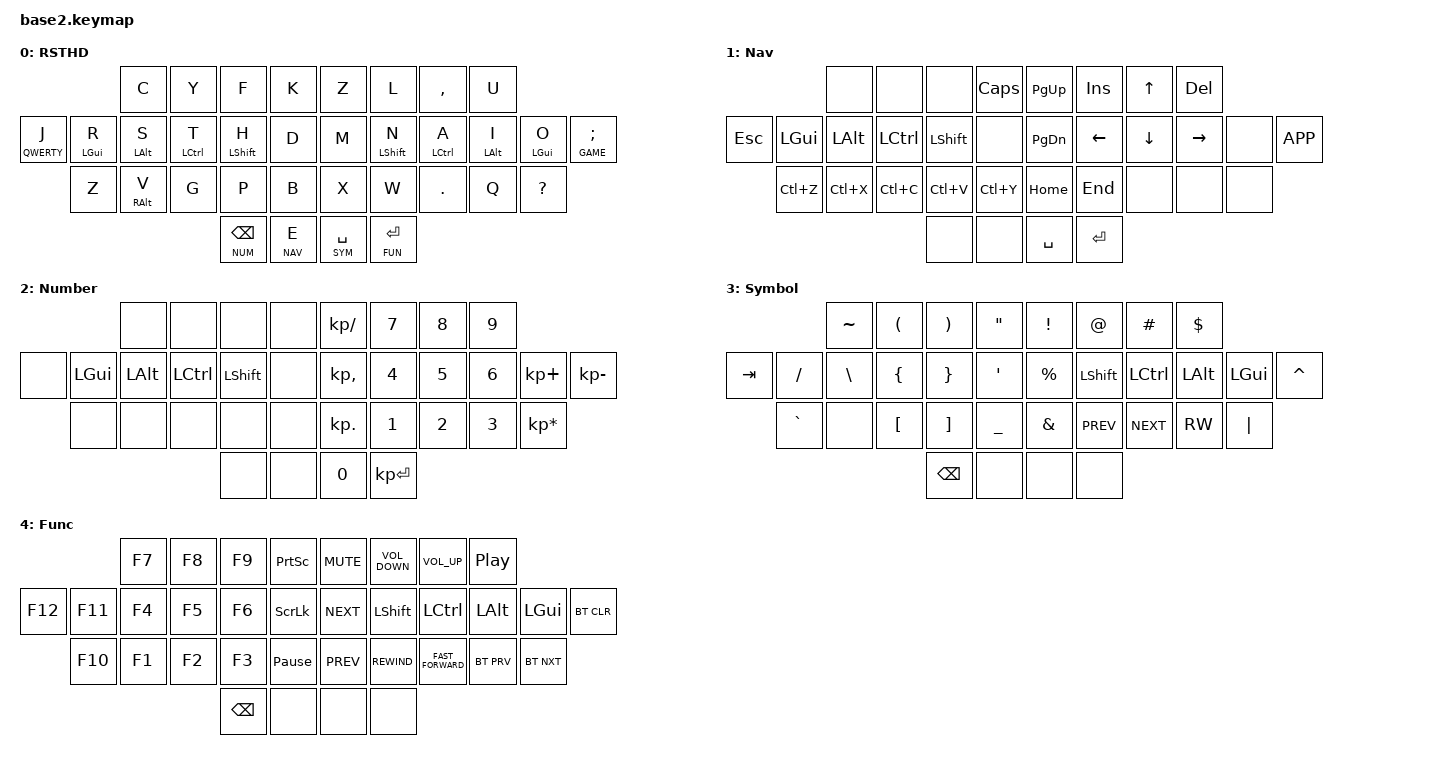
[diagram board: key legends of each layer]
#include <behaviors.dtsi>
#include <dt-bindings/zmk/keys.h>
#include <dt-bindings/zmk/bt.h>
#include <dt-bindings/zmk/outputs.h>

#define U_RDO &kp LC(Y)
#define U_PST &kp LC(V)
#define U_CPY &kp LC(C)
#define U_CUT &kp LC(X)
#define U_UND &kp LC(Z)

#define RSTHD 0
#define NAV 1
#define NUM 2
#define SYM 3
#define FUN 4

/*
*
* Rules:
* 1) layer changes are due to holding thumb keys
* 2) avoid having to hold multiple keys like sym+shift, e.g. (sym+shift+",") should be avoided infavor of (sym+"<")
* 3) outer columns should match what you'd put on pinky top row in a pure 3 row setup
* 4) while holding a left thumb, primary actions should be on right hand & vice versa
* 5) home row mods are only on the base layer
* 6) thumb tap actions should remain consistent on all layers unless being overriden by a primary action
* 7) avoid duplicates - decisions are bad, KC_NO is fine
* 8) arrange open/close and left/right things horizontally, up/down things vertically
*/

/ {
        keymap {
                compatible = "zmk,keymap";
                RSTHD {
                        label = "RSTHD";
                        bindings = <
/*                                       ╔═══════════════════╦═══════════════════╦═══════════════════╦═════════════════╗        ╔═════════════════╦═══════════════════╦═══════════════════╦═══════════════════╗                                       */
                                               &kp C              &kp Y              &kp F              &kp K                       &kp Z              &kp L              &kp COMMA            &kp U
/* ╔═════════════════╦═══════════════════╬═══════════════════╬═══════════════════╬═══════════════════╬═════════════════╣        ╠═════════════════╬═══════════════════╬═══════════════════╬═══════════════════╬═══════════════════╦═════════════════╗ */
     &hto QWERTY J          &hm LGUI R         &hm LALT S         &hm LCTRL T        &hm LSHFT H        &kp D                       &kp M              &hm LSHFT N        &hm LCTRL A          &hm LALT I          &hm LGUI O       &hto GAME SEMI
/* ╚═════════════════╬═══════════════════╬═══════════════════╬═══════════════════╬═══════════════════╬═════════════════╣        ╠═════════════════╬═══════════════════╬═══════════════════╬═══════════════════╬═══════════════════╬═════════════════╝ */
                            &kp Z              &hm RALT V         &kp G              &kp P              &kp B                       &kp X              &kp W              &kp DOT              &kp Q             &kp QUESTION
/*                   ╚═══════════════════╩═══════════════════╩═══════════════════╬═══════════════════╬═════════════════╣        ╠═════════════════╬═══════════════════╬═══════════════════╩═══════════════════╩═══════════════════╝                   */
                                                                                     &lt NUM BSPC       &lt NAV E                 &lt SYM SPC        &lt FUN RET
/*                                                                               ╚═══════════════════╩═════════════════╝        ╚═════════════════╩═══════════════════╝                                                                               */
                             >;
                    };

                     NAV {
                             label = "Nav";
                             bindings = <
/*                                       ╔═══════════════════╦═══════════════════╦═══════════════════╦═════════════════╗        ╔═════════════════╦═══════════════════╦═══════════════════╦═══════════════════╗                                       */
                                               &none              &none              &none              &kp CAPS                    &kp PG_UP          &kp INS            &kp UP             &kp DEL
/* ╔═════════════════╦═══════════════════╬═══════════════════╬═══════════════════╬═══════════════════╬═════════════════╣        ╠═════════════════╬═══════════════════╬═══════════════════╬═══════════════════╬═══════════════════╦═════════════════╗ */
     &kp ESC                &kp LGUI           &kp LALT           &kp LCTRL          &kp LSHFT          &none                       &kp PG_DN          &kp LEFT           &kp DOWN           &kp RIGHT          &none                &kp K_APP
/* ╚═════════════════╬═══════════════════╬═══════════════════╬═══════════════════╬═══════════════════╬═════════════════╣        ╠═════════════════╬═══════════════════╬═══════════════════╬═══════════════════╬═══════════════════╬═════════════════╝ */
                            U_UND              U_CUT              U_CPY              U_PST              U_RDO                       &kp HOME           &kp END            &none              &none              &none
/*                   ╚═══════════════════╩═══════════════════╩═══════════════════╬═══════════════════╬═════════════════╣        ╠═════════════════╬═══════════════════╬═══════════════════╩═══════════════════╩═══════════════════╝                   */
                                                                                     &none              &none                       &kp SPC            &kp RET
/*                                                                               ╚═══════════════════╩═════════════════╝        ╚═════════════════╩═══════════════════╝                                                                               */
                             >;
                     };
                     NUM {
                             label = "Number";
                             bindings = <
/*                                       ╔═══════════════════╦═══════════════════╦═══════════════════╦═════════════════╗        ╔═════════════════╦═══════════════════╦═══════════════════╦═══════════════════╗                                       */
                                               &none              &none              &none              &none                       &kp KP_DIVIDE      &kp NUM_7          &kp NUM_8          &kp NUM_9
/* ╔═════════════════╦═══════════════════╬═══════════════════╬═══════════════════╬═══════════════════╬═════════════════╣        ╠═════════════════╬═══════════════════╬═══════════════════╬═══════════════════╬═══════════════════╦═════════════════╗ */
     &none                  &kp LGUI           &kp LALT           &kp LCTRL          &kp LSHFT          &none                       &kp KP_COMMA       &kp NUM_4          &kp NUM_5          &kp NUM_6          &kp KP_PLUS         &kp KP_MINUS
/* ╚═════════════════╬═══════════════════╬═══════════════════╬═══════════════════╬═══════════════════╬═════════════════╣        ╠═════════════════╬═══════════════════╬═══════════════════╬═══════════════════╬═══════════════════╬═════════════════╝ */
                            &none              &none              &none              &none              &none                       &kp KP_DOT         &kp NUM_1          &kp NUM_2          &kp NUM_3          &kp KP_MULTIPLY
/*                   ╚═══════════════════╩═══════════════════╩═══════════════════╬═══════════════════╬═════════════════╣        ╠═════════════════╬═══════════════════╬═══════════════════╩═══════════════════╩═══════════════════╝                   */
                                                                                     &none              &none                       &kp NUM_0         &kp KP_ENTER
/*                                                                               ╚═══════════════════╩═════════════════╝        ╚═════════════════╩═══════════════════╝                                                                               */
                             >;
                     };
                     SYM {
                             label = "Symbol";
                             bindings = <
/*                                       ╔═══════════════════╦═══════════════════╦═══════════════════╦═════════════════╗        ╔═════════════════╦═══════════════════╦═══════════════════╦═══════════════════╗                                       */
                                               &kp TILDE          &kp LPAR           &kp RPAR           &kp DQT                   &kp EXCLAMATION      &kp AT_SIGN        &kp HASH           &kp DOLLAR
/* ╔═════════════════╦═══════════════════╬═══════════════════╬═══════════════════╬═══════════════════╬═════════════════╣        ╠═════════════════╬═══════════════════╬═══════════════════╬═══════════════════╬═══════════════════╦═════════════════╗ */
     &kp TAB                &kp SLASH          &kp BACKSLASH      &kp LBRC           &kp RBRC           &kp SQT                     &kp PERCENT        &kp LSHFT          &kp LCTRL          &kp LALT           &kp LGUI              &kp CARET
/* ╚═════════════════╬═══════════════════╬═══════════════════╬═══════════════════╬═══════════════════╬═════════════════╣        ╠═════════════════╬═══════════════════╬═══════════════════╬═══════════════════╬═══════════════════╬═════════════════╝ */
                            &kp GRAVE          &none              &kp LBKT           &kp RBKT           &kp UNDERSCORE              &kp AMPERSAND      &kp C_PREV         &kp K_NEXT         &kp C_RW           &kp PIPE
/*                   ╚═══════════════════╩═══════════════════╩═══════════════════╬═══════════════════╬═════════════════╣        ╠═════════════════╬═══════════════════╬═══════════════════╩═══════════════════╩═══════════════════╝                   */
                                                                                     &kp BSPC            &none                       &none              &none
/*                                                                               ╚═══════════════════╩═════════════════╝        ╚═════════════════╩═══════════════════╝                                                                               */
                             >;
                     };
                     FUN {
                             label = "Func";
                             bindings = <
/*                                       ╔═══════════════════╦═══════════════════╦═══════════════════╦═════════════════╗        ╔═════════════════╦═══════════════════╦═══════════════════╦═══════════════════╗                                       */
                                               &kp F7             &kp F8             &kp F9             &kp PRINTSCREEN             &kp C_MUTE      &kp C_VOLUME_DOWN     &kp C_VOLUME_UP    &kp C_PLAY_PAUSE
/* ╔═════════════════╦═══════════════════╬═══════════════════╬═══════════════════╬═══════════════════╬═════════════════╣        ╠═════════════════╬═══════════════════╬═══════════════════╬═══════════════════╬═══════════════════╦═════════════════╗ */
     &kp F12                &kp F11            &kp F4             &kp F5             &kp F6             &kp SCROLLLOCK              &kp C_NEXT         &kp LSHFT          &kp LCTRL          &kp LALT           &kp LGUI             &bt BT_CLR
/* ╚═════════════════╬═══════════════════╬═══════════════════╬═══════════════════╬═══════════════════╬═════════════════╣        ╠═════════════════╬═══════════════════╬═══════════════════╬═══════════════════╬═══════════════════╬═════════════════╝ */
                            &kp F10            &kp F1             &kp F2             &kp F3             &kp PAUSE_BREAK             &kp C_PREV         &kp C_REWIND     &kp C_FAST_FORWARD   &bt BT_PRV         &bt BT_NXT
/*                   ╚═══════════════════╩═══════════════════╩═══════════════════╬═══════════════════╬═════════════════╣        ╠═════════════════╬═══════════════════╬═══════════════════╩═══════════════════╩═══════════════════╝                   */
                                                                                     &kp BSPC            &none                      &none              &none
/*                                                                               ╚═══════════════════╩═════════════════╝        ╚═════════════════╩═══════════════════╝                                                                               */
                             >;
                     };
        };
        behaviors {
                hm: homerow_mods {
                        compatible = "zmk,behavior-hold-tap";
                        label = "HOMEROW_MODS";
                        #binding-cells = <2>;
                        tapping_term_ms = <250>;
                        flavor = "tap-preferred";
                        bindings = <&kp>, <&kp>;
                };
                hto: hold_to {
                        compatible = "zmk,behavior-hold-tap";
                        label = "HOLD TO";
                        #binding-cells = <2>;
                        tapping_term_ms = <350>;
                        flavor = "tap-preferred";
                        bindings = <&to>, <&kp>;
                };
        };
};
